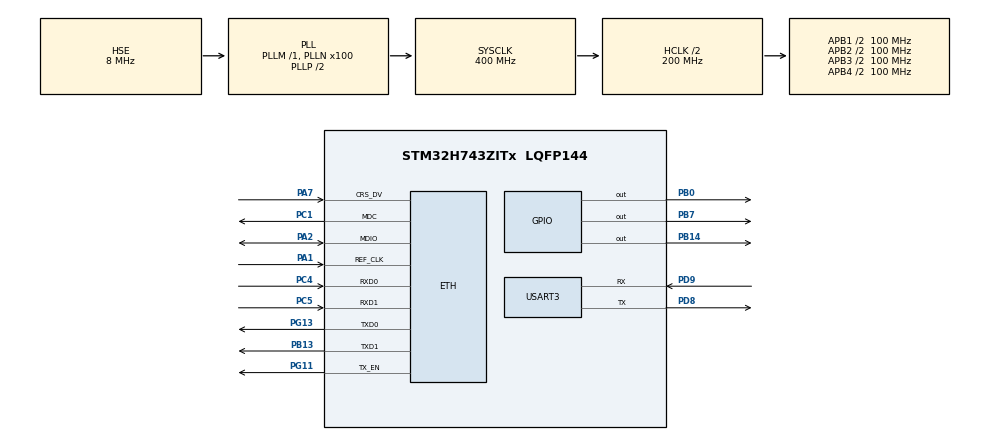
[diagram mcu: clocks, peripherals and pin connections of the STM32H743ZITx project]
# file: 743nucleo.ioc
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CORTEX_M7.AccessPermission-Cortex_Memory_Protection_Unit_Region0_Settings=MPU_REGION_PRIV_RO_URO
CORTEX_M7.AccessPermission-Cortex_Memory_Protection_Unit_Region1_Settings=MPU_REGION_FULL_ACCESS
CORTEX_M7.AccessPermission-Cortex_Memory_Protection_Unit_Region2_Settings=MPU_REGION_FULL_ACCESS
CORTEX_M7.AccessPermission-Cortex_Memory_Protection_Unit_Region3_Settings=MPU_REGION_FULL_ACCESS
CORTEX_M7.AccessPermission-Cortex_Memory_Protection_Unit_Region4_Settings=MPU_REGION_FULL_ACCESS
CORTEX_M7.AccessPermission-Cortex_Memory_Protection_Unit_Region5_Settings=MPU_REGION_FULL_ACCESS
CORTEX_M7.AccessPermission-Cortex_Memory_Protection_Unit_Region6_Settings=MPU_REGION_FULL_ACCESS
CORTEX_M7.BaseAddress-Cortex_Memory_Protection_Unit_Region0_Settings=0x08000000
CORTEX_M7.BaseAddress-Cortex_Memory_Protection_Unit_Region1_Settings=0x24000000
CORTEX_M7.BaseAddress-Cortex_Memory_Protection_Unit_Region2_Settings=0x30000000
CORTEX_M7.BaseAddress-Cortex_Memory_Protection_Unit_Region3_Settings=0x30020000
CORTEX_M7.BaseAddress-Cortex_Memory_Protection_Unit_Region4_Settings=0x30040000
CORTEX_M7.BaseAddress-Cortex_Memory_Protection_Unit_Region5_Settings=0x38000000
CORTEX_M7.BaseAddress-Cortex_Memory_Protection_Unit_Region6_Settings=0x38800000
CORTEX_M7.CPU_DCache=Enabled
CORTEX_M7.CPU_ICache=Enabled
CORTEX_M7.Enable-Cortex_Memory_Protection_Unit_Region0_Settings=MPU_REGION_ENABLE
CORTEX_M7.Enable-Cortex_Memory_Protection_Unit_Region1_Settings=MPU_REGION_ENABLE
CORTEX_M7.Enable-Cortex_Memory_Protection_Unit_Region2_Settings=MPU_REGION_ENABLE
CORTEX_M7.Enable-Cortex_Memory_Protection_Unit_Region3_Settings=MPU_REGION_ENABLE
CORTEX_M7.Enable-Cortex_Memory_Protection_Unit_Region4_Settings=MPU_REGION_ENABLE
CORTEX_M7.Enable-Cortex_Memory_Protection_Unit_Region5_Settings=MPU_REGION_ENABLE
CORTEX_M7.Enable-Cortex_Memory_Protection_Unit_Region6_Settings=MPU_REGION_ENABLE
CORTEX_M7.IsBufferable-Cortex_Memory_Protection_Unit_Region1_Settings=MPU_ACCESS_NOT_BUFFERABLE
CORTEX_M7.IsCacheable-Cortex_Memory_Protection_Unit_Region0_Settings=MPU_ACCESS_CACHEABLE
CORTEX_M7.IsCacheable-Cortex_Memory_Protection_Unit_Region1_Settings=MPU_ACCESS_CACHEABLE
CORTEX_M7.IsCacheable-Cortex_Memory_Protection_Unit_Region2_Settings=MPU_ACCESS_CACHEABLE
CORTEX_M7.IsCacheable-Cortex_Memory_Protection_Unit_Region3_Settings=MPU_ACCESS_CACHEABLE
CORTEX_M7.IsCacheable-Cortex_Memory_Protection_Unit_Region4_Settings=MPU_ACCESS_CACHEABLE
CORTEX_M7.IsCacheable-Cortex_Memory_Protection_Unit_Region5_Settings=MPU_ACCESS_CACHEABLE
CORTEX_M7.IsCacheable-Cortex_Memory_Protection_Unit_Region6_Settings=MPU_ACCESS_CACHEABLE
CORTEX_M7.IsShareable-Cortex_Memory_Protection_Unit_Region0_Settings=MPU_ACCESS_SHAREABLE
CORTEX_M7.IsShareable-Cortex_Memory_Protection_Unit_Region1_Settings=MPU_ACCESS_SHAREABLE
CORTEX_M7.IsShareable-Cortex_Memory_Protection_Unit_Region2_Settings=MPU_ACCESS_SHAREABLE
CORTEX_M7.IsShareable-Cortex_Memory_Protection_Unit_Region3_Settings=MPU_ACCESS_SHAREABLE
CORTEX_M7.IsShareable-Cortex_Memory_Protection_Unit_Region4_Settings=MPU_ACCESS_SHAREABLE
CORTEX_M7.IsShareable-Cortex_Memory_Protection_Unit_Region5_Settings=MPU_ACCESS_SHAREABLE
CORTEX_M7.IsShareable-Cortex_Memory_Protection_Unit_Region6_Settings=MPU_ACCESS_SHAREABLE
CORTEX_M7.MPU_Control=MPU_PRIVILEGED_DEFAULT
CORTEX_M7.Size-Cortex_Memory_Protection_Unit_Region0_Settings=MPU_REGION_SIZE_2MB
CORTEX_M7.Size-Cortex_Memory_Protection_Unit_Region1_Settings=MPU_REGION_SIZE_512KB
CORTEX_M7.Size-Cortex_Memory_Protection_Unit_Region2_Settings=MPU_REGION_SIZE_128KB
CORTEX_M7.Size-Cortex_Memory_Protection_Unit_Region3_Settings=MPU_REGION_SIZE_128KB
CORTEX_M7.Size-Cortex_Memory_Protection_Unit_Region4_Settings=MPU_REGION_SIZE_32KB
CORTEX_M7.Size-Cortex_Memory_Protection_Unit_Region5_Settings=MPU_REGION_SIZE_64KB
CORTEX_M7.Size-Cortex_Memory_Protection_Unit_Region6_Settings=MPU_REGION_SIZE_4KB
Dma.Request0=USART3_RX
Dma.Request1=USART3_TX
Dma.USART3_RX.0.Direction=DMA_PERIPH_TO_MEMORY
Dma.USART3_RX.0.EventEnable=DISABLE
Dma.USART3_RX.0.FIFOMode=DMA_FIFOMODE_DISABLE
Dma.USART3_RX.0.Instance=DMA1_Stream0
Dma.USART3_RX.0.MemDataAlignment=DMA_MDATAALIGN_BYTE
Dma.USART3_RX.0.MemInc=DMA_MINC_ENABLE
Dma.USART3_RX.0.Mode=DMA_NORMAL
Dma.USART3_RX.0.PeriphDataAlignment=DMA_PDATAALIGN_BYTE
Dma.USART3_RX.0.PeriphInc=DMA_PINC_DISABLE
Dma.USART3_RX.0.Polarity=HAL_DMAMUX_REQ_GEN_RISING
Dma.USART3_RX.0.Priority=DMA_PRIORITY_LOW
Dma.USART3_RX.0.RequestNumber=1
Dma.USART3_RX.0.SignalID=NONE
Dma.USART3_RX.0.SyncEnable=DISABLE
Dma.USART3_RX.0.SyncPolarity=HAL_DMAMUX_SYNC_NO_EVENT
Dma.USART3_RX.0.SyncRequestNumber=1
Dma.USART3_RX.0.SyncSignalID=NONE
Dma.USART3_TX.1.Direction=DMA_MEMORY_TO_PERIPH
Dma.USART3_TX.1.EventEnable=DISABLE
Dma.USART3_TX.1.FIFOMode=DMA_FIFOMODE_DISABLE
Dma.USART3_TX.1.Instance=DMA1_Stream1
Dma.USART3_TX.1.MemDataAlignment=DMA_MDATAALIGN_BYTE
Dma.USART3_TX.1.MemInc=DMA_MINC_ENABLE
Dma.USART3_TX.1.Mode=DMA_NORMAL
Dma.USART3_TX.1.PeriphDataAlignment=DMA_PDATAALIGN_BYTE
Dma.USART3_TX.1.PeriphInc=DMA_PINC_DISABLE
Dma.USART3_TX.1.Polarity=HAL_DMAMUX_REQ_GEN_RISING
Dma.USART3_TX.1.Priority=DMA_PRIORITY_LOW
Dma.USART3_TX.1.RequestNumber=1
Dma.USART3_TX.1.SignalID=NONE
Dma.USART3_TX.1.SyncEnable=DISABLE
Dma.USART3_TX.1.SyncPolarity=HAL_DMAMUX_SYNC_NO_EVENT
Dma.USART3_TX.1.SyncRequestNumber=1
Dma.USART3_TX.1.SyncSignalID=NONE
ETH.MACAddr=00\:80\:E1\:00\:00\:98
ETH.MediaInterface=HAL_ETH_RMII_MODE
FREERTOS.BinarySemaphores01=myBinarySem01,Dynamic,NULL;myBinarySem02,Dynamic,NULL
FREERTOS.CountingSemaphores01=myCountingSem01,2,Dynamic,NULL;myCountingSem02,2,Dynamic,NULL
FREERTOS.INCLUDE_eTaskGetState=1
FREERTOS.INCLUDE_pcTaskGetTaskName=1
FREERTOS.INCLUDE_uxTaskGetStackHighWaterMark=1
FREERTOS.INCLUDE_vTaskCleanUpResources=1
FREERTOS.INCLUDE_vTaskDelayUntil=1
FREERTOS.INCLUDE_xEventGroupSetBitFromISR=1
FREERTOS.INCLUDE_xQueueGetMutexHolder=1
FREERTOS.INCLUDE_xSemaphoreGetMutexHolder=1
FREERTOS.INCLUDE_xTaskAbortDelay=1
FREERTOS.INCLUDE_xTaskGetCurrentTaskHandle=1
FREERTOS.INCLUDE_xTaskGetHandle=1
FREERTOS.INCLUDE_xTimerPendFunctionCall=1
FREERTOS.MEMORY_ALLOCATION=0
FREERTOS.Mutexes01=myMutex01,Dynamic,NULL;myMutex02,Dynamic,NULL
FREERTOS.Queues01=myQueue01,16,uint16_t,0,Dynamic,NULL,NULL;myQueue02,16,uint16_t,0,Dynamic,NULL,NULL
FREERTOS.RecursiveMutexes01=myRecursiveMutex01,Dynamic,NULL;myRecursiveMutex02,Dynamic,NULL
FREERTOS.Tasks01=defaultTask,0,128,StartDefaultTask,Default,NULL,Dynamic,NULL,NULL;myTask02,-3,128,StartTask02,Default,NULL,Dynamic,NULL,NULL;myTask03,-3,128,StartTask03,Default,NULL,Dynamic,NULL,NULL
FREERTOS.Timers01=myTimer01,Callback01,osTimerPeriodic,Default,NULL,Dynamic,NULL;myTimer02,Callback02,osTimerPeriodic,Default,NULL,Dynamic,NULL
FREERTOS.configCHECK_FOR_STACK_OVERFLOW=1
FREERTOS.configGENERATE_RUN_TIME_STATS=1
FREERTOS.configMAX_PRIORITIES=32
FREERTOS.configUSE_APPLICATION_TASK_TAG=1
FREERTOS.configUSE_COUNTING_SEMAPHORES=1
FREERTOS.configUSE_CO_ROUTINES=1
FREERTOS.configUSE_DAEMON_TASK_STARTUP_HOOK=1
FREERTOS.configUSE_IDLE_HOOK=1
FREERTOS.configUSE_MALLOC_FAILED_HOOK=1
FREERTOS.configUSE_RECURSIVE_MUTEXES=1
FREERTOS.configUSE_STATS_FORMATTING_FUNCTIONS=1
FREERTOS.configUSE_TICKLESS_IDLE=0
FREERTOS.configUSE_TICK_HOOK=1
FREERTOS.configUSE_TIMERS=1
FREERTOS.configUSE_TRACE_FACILITY=1
LWIP.BSP.number=1
LWIP.CHECKSUM_BY_HARDWARE=1
LWIP.CHECKSUM_CHECK_IP=1
LWIP.CHECKSUM_CHECK_TCP=1
LWIP.CHECKSUM_CHECK_UDP=1
LWIP.CHECKSUM_GEN_IP=1
LWIP.CHECKSUM_GEN_TCP=1
LWIP.CHECKSUM_GEN_UDP=1
LWIP.GATEWAY_ADDRESS=192.168.001.001
LWIP.IP_ADDRESS=192.168.001.120
LWIP.LWIP_DHCP=1
LWIP.LWIP_DNS=1
LWIP.LWIP_HTTPD=0
LWIP.LWIP_NETIF_LINK_CALLBACK=1
LWIP.LWIP_NETIF_LOOPBACK=1
LWIP.LWIP_NETIF_STATUS_CALLBACK=1
LWIP.NETMASK_ADDRESS=255.255.255.000
LWIP.Version=v2.0.3_Cube
LWIP0.BSP.STBoard=false
LWIP0.BSP.api=BSP_COMPONENT_DRIVER
LWIP0.BSP.component=LAN8742
LWIP0.BSP.i2caddr=0
LWIP0.BSP.instance=LAN8742
LWIP0.BSP.name=Driver_PHY
LWIP0.BSP.solution=LAN8742
Mcu.Family=STM32H7
Mcu.Name=STM32H743ZITx
Mcu.Package=LQFP144
NVIC.DMA1_Stream0_IRQn=true\:5\:0\:false\:false\:true\:true\:false\:true
NVIC.DMA1_Stream1_IRQn=true\:5\:0\:false\:false\:true\:true\:false\:true
NVIC.ETH_IRQn=true\:5\:0\:false\:false\:true\:true\:true\:true
NVIC.ETH_WKUP_IRQn=true\:5\:0\:false\:false\:true\:true\:true\:true
NVIC.PriorityGroup=NVIC_PRIORITYGROUP_4
NVIC.TIM7_IRQn=true\:0\:0\:false\:false\:true\:false\:false\:true
NVIC.TimeBase=TIM7_IRQn
NVIC.TimeBaseIP=TIM7
NVIC.USART3_IRQn=true\:5\:0\:false\:false\:true\:true\:true\:true
PA1.GPIO_Speed=GPIO_SPEED_FREQ_VERY_HIGH
PA1.Mode=RMII
PA1.Signal=ETH_REF_CLK
PA13\ (JTMS/SWDIO).Mode=Serial_Wire
PA13\ (JTMS/SWDIO).Signal=SYS_JTMS-SWDIO
PA14\ (JTCK/SWCLK).Mode=Serial_Wire
PA14\ (JTCK/SWCLK).Signal=SYS_JTCK-SWCLK
PA2.GPIO_Speed=GPIO_SPEED_FREQ_VERY_HIGH
PA2.Mode=RMII
PA2.Signal=ETH_MDIO
PA7.GPIO_Speed=GPIO_SPEED_FREQ_VERY_HIGH
PA7.Mode=RMII
PA7.Signal=ETH_CRS_DV
PB0.Signal=GPIO_Output
PB13.GPIO_Speed=GPIO_SPEED_FREQ_VERY_HIGH
PB13.Mode=RMII
PB13.Signal=ETH_TXD1
PB14.Signal=GPIO_Output
PB7.Signal=GPIO_Output
PC1.Mode=RMII
PC1.Signal=ETH_MDC
PC14-OSC32_IN\ (OSC32_IN).Mode=LSE-External-Clock-Source
PC14-OSC32_IN\ (OSC32_IN).Signal=RCC_OSC32_IN
PC15-OSC32_OUT\ (OSC32_OUT).Mode=LSE-External-Clock-Source
PC15-OSC32_OUT\ (OSC32_OUT).Signal=RCC_OSC32_OUT
PC4.GPIO_Speed=GPIO_SPEED_FREQ_VERY_HIGH
PC4.Mode=RMII
PC4.Signal=ETH_RXD0
PC5.GPIO_Speed=GPIO_SPEED_FREQ_VERY_HIGH
PC5.Mode=RMII
PC5.Signal=ETH_RXD1
PD8.GPIO_Speed=GPIO_SPEED_FREQ_VERY_HIGH
PD8.Mode=Asynchronous
PD8.Signal=USART3_TX
PD9.GPIO_Speed=GPIO_SPEED_FREQ_VERY_HIGH
PD9.Mode=Asynchronous
PD9.Signal=USART3_RX
PG11.GPIO_Speed=GPIO_SPEED_FREQ_VERY_HIGH
PG11.Mode=RMII
PG11.Signal=ETH_TX_EN
PG13.GPIO_Speed=GPIO_SPEED_FREQ_VERY_HIGH
PG13.Mode=RMII
PG13.Signal=ETH_TXD0
PH0-OSC_IN\ (PH0).Mode=HSE-External-Clock-Source
PH0-OSC_IN\ (PH0).Signal=RCC_OSC_IN
PH1-OSC_OUT\ (PH1).Mode=HSE-External-Clock-Source
PH1-OSC_OUT\ (PH1).Signal=RCC_OSC_OUT
ProjectManager.HeapSize=0x8000
ProjectManager.StackSize=0x8000
ProjectManager.TargetToolchain=MDK-ARM V5
RCC.ADCFreq_Value=16125000
RCC.APB1Freq_Value=100000000
RCC.APB2Freq_Value=100000000
RCC.APB3Freq_Value=100000000
RCC.APB4Freq_Value=100000000
RCC.CortexFreq_Value=400000000
RCC.D1PPRE=RCC_APB3_DIV2
RCC.D2PPRE1=RCC_APB1_DIV2
RCC.D2PPRE2=RCC_APB2_DIV2
RCC.D3PPRE=RCC_APB4_DIV2
RCC.DIVM1=1
RCC.DIVN1=100
RCC.FLatency=FLASH_LATENCY_7
RCC.HCLKFreq_Value=200000000
RCC.HPRE=RCC_HCLK_DIV2
RCC.HSE_VALUE=8000000
RCC.PLLSourceVirtual=RCC_PLLSOURCE_HSE
RCC.PWR_Regulator_Voltage_Scale=PWR_REGULATOR_VOLTAGE_SCALE1
RCC.RCC_MCO1Source=RCC_MCO1SOURCE_PLL1QCLK
RCC.RCC_MCODiv1=RCC_MCODIV_8
RCC.SYSCLKFreq_VALUE=400000000
RCC.SYSCLKSource=RCC_SYSCLKSOURCE_PLLCLK
RCC.USBFreq_Value=400000000
USART3.VirtualMode-Asynchronous=VM_ASYNC
VP_FREERTOS_VS_CMSIS_V1.Mode=CMSIS_V1
VP_LWIP_VS_Enabled.Mode=Enabled
VP_SYS_VS_tim7.Mode=TIM7
board=custom

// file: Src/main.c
/* USER CODE BEGIN Header */
/**
  ******************************************************************************
  * @file           : main.c
  * @brief          : Main program body
  ******************************************************************************
  * This notice applies to any and all portions of this file
  * that are not between comment pairs USER CODE BEGIN and
  * USER CODE END. Other portions of this file, whether
  * inserted by the user or by software development tools
  * are owned by their respective copyright owners.
  *
  * Copyright (c) 2019 STMicroelectronics International N.V.
  * All rights reserved.
  *
  * Redistribution and use in source and binary forms, with or without
  * modification, are permitted, provided that the following conditions are met:
  *
  * 1. Redistribution of source code must retain the above copyright notice,
  *    this list of conditions and the following disclaimer.
  * 2. Redistributions in binary form must reproduce the above copyright notice,
  *    this list of conditions and the following disclaimer in the documentation
  *    and/or other materials provided with the distribution.
  * 3. Neither the name of STMicroelectronics nor the names of other
  *    contributors to this software may be used to endorse or promote products
  *    derived from this software without specific written permission.
  * 4. This software, including modifications and/or derivative works of this
  *    software, must execute solely and exclusively on microcontroller or
  *    microprocessor devices manufactured by or for STMicroelectronics.
  * 5. Redistribution and use of this software other than as permitted under
  *    this license is void and will automatically terminate your rights under
  *    this license.
  *
  * THIS SOFTWARE IS PROVIDED BY STMICROELECTRONICS AND CONTRIBUTORS "AS IS"
  * AND ANY EXPRESS, IMPLIED OR STATUTORY WARRANTIES, INCLUDING, BUT NOT
  * LIMITED TO, THE IMPLIED WARRANTIES OF MERCHANTABILITY, FITNESS FOR A
  * PARTICULAR PURPOSE AND NON-INFRINGEMENT OF THIRD PARTY INTELLECTUAL PROPERTY
  * RIGHTS ARE DISCLAIMED TO THE FULLEST EXTENT PERMITTED BY LAW. IN NO EVENT
  * SHALL STMICROELECTRONICS OR CONTRIBUTORS BE LIABLE FOR ANY DIRECT, INDIRECT,
  * INCIDENTAL, SPECIAL, EXEMPLARY, OR CONSEQUENTIAL DAMAGES (INCLUDING, BUT NOT
  * LIMITED TO, PROCUREMENT OF SUBSTITUTE GOODS OR SERVICES; LOSS OF USE, DATA,
  * OR PROFITS; OR BUSINESS INTERRUPTION) HOWEVER CAUSED AND ON ANY THEORY OF
  * LIABILITY, WHETHER IN CONTRACT, STRICT LIABILITY, OR TORT (INCLUDING
  * NEGLIGENCE OR OTHERWISE) ARISING IN ANY WAY OUT OF THE USE OF THIS SOFTWARE,
  * EVEN IF ADVISED OF THE POSSIBILITY OF SUCH DAMAGE.
  *
  ******************************************************************************
  */
/* USER CODE END Header */

#include "main.h"
#include "cmsis_os.h"
#include "dma.h"
#include "lwip.h"
#include "usart.h"
#include "gpio.h"

void SystemClock_Config(void);
static void MPU_Config(void);
void MX_FREERTOS_Init(void);

int main(void)
{

  /* MPU Configuration--------------------------------------------------------*/
  MPU_Config();

  /* Enable I-Cache---------------------------------------------------------*/
  SCB_EnableICache();

  /* Enable D-Cache---------------------------------------------------------*/
  SCB_EnableDCache();

  /* MCU Configuration--------------------------------------------------------*/

  /* Reset of all peripherals, Initializes the Flash interface and the Systick. */
  HAL_Init();

  /* Configure the system clock */
  SystemClock_Config();

  /* Initialize all configured peripherals */
  MX_GPIO_Init();
  MX_DMA_Init();
  MX_USART3_UART_Init();

  /* Call init function for freertos objects (in freertos.c) */
  MX_FREERTOS_Init();

  /* Start scheduler */
  osKernelStart();

  /* We should never get here as control is now taken by the scheduler */

  /* Infinite loop */
  while (1)
  {

  }
}

void SystemClock_Config(void)
{
  RCC_OscInitTypeDef RCC_OscInitStruct = {0};
  RCC_ClkInitTypeDef RCC_ClkInitStruct = {0};
  RCC_PeriphCLKInitTypeDef PeriphClkInitStruct = {0};

  /** Supply configuration update enable
  */
  MODIFY_REG(PWR->CR3, PWR_CR3_SCUEN, 0);
  /** Configure the main internal regulator output voltage
  */
  __HAL_PWR_VOLTAGESCALING_CONFIG(PWR_REGULATOR_VOLTAGE_SCALE1);

  while ((PWR->D3CR & (PWR_D3CR_VOSRDY)) != PWR_D3CR_VOSRDY)
  {

  }
  /** Initializes the CPU, AHB and APB busses clocks
  */
  RCC_OscInitStruct.OscillatorType = RCC_OSCILLATORTYPE_HSE;
  RCC_OscInitStruct.HSEState = RCC_HSE_BYPASS;
  RCC_OscInitStruct.PLL.PLLState = RCC_PLL_ON;
  RCC_OscInitStruct.PLL.PLLSource = RCC_PLLSOURCE_HSE;
  RCC_OscInitStruct.PLL.PLLM = 1;
  RCC_OscInitStruct.PLL.PLLN = 100;
  RCC_OscInitStruct.PLL.PLLP = 2;
  RCC_OscInitStruct.PLL.PLLQ = 2;
  RCC_OscInitStruct.PLL.PLLR = 2;
  RCC_OscInitStruct.PLL.PLLRGE = RCC_PLL1VCIRANGE_3;
  RCC_OscInitStruct.PLL.PLLVCOSEL = RCC_PLL1VCOWIDE;
  RCC_OscInitStruct.PLL.PLLFRACN = 0;
  if (HAL_RCC_OscConfig(&RCC_OscInitStruct) != HAL_OK)
  {
    Error_Handler();
  }
  /** Initializes the CPU, AHB and APB busses clocks
  */
  RCC_ClkInitStruct.ClockType = RCC_CLOCKTYPE_HCLK|RCC_CLOCKTYPE_SYSCLK
                              |RCC_CLOCKTYPE_PCLK1|RCC_CLOCKTYPE_PCLK2
                              |RCC_CLOCKTYPE_D3PCLK1|RCC_CLOCKTYPE_D1PCLK1;
  RCC_ClkInitStruct.SYSCLKSource = RCC_SYSCLKSOURCE_PLLCLK;
  RCC_ClkInitStruct.SYSCLKDivider = RCC_SYSCLK_DIV1;
  RCC_ClkInitStruct.AHBCLKDivider = RCC_HCLK_DIV2;
  RCC_ClkInitStruct.APB3CLKDivider = RCC_APB3_DIV2;
  RCC_ClkInitStruct.APB1CLKDivider = RCC_APB1_DIV2;
  RCC_ClkInitStruct.APB2CLKDivider = RCC_APB2_DIV2;
  RCC_ClkInitStruct.APB4CLKDivider = RCC_APB4_DIV2;

  if (HAL_RCC_ClockConfig(&RCC_ClkInitStruct, FLASH_LATENCY_7) != HAL_OK)
  {
    Error_Handler();
  }
  PeriphClkInitStruct.PeriphClockSelection = RCC_PERIPHCLK_USART3;
  PeriphClkInitStruct.Usart234578ClockSelection = RCC_USART234578CLKSOURCE_D2PCLK1;
  if (HAL_RCCEx_PeriphCLKConfig(&PeriphClkInitStruct) != HAL_OK)
  {
    Error_Handler();
  }
}

/* MPU Configuration */

void MPU_Config(void)
{
  MPU_Region_InitTypeDef MPU_InitStruct = {0};

  /* Disables the MPU */
  HAL_MPU_Disable();
  /** Initializes and configures the Region and the memory to be protected
  */
  MPU_InitStruct.Enable = MPU_REGION_ENABLE;
  MPU_InitStruct.Number = MPU_REGION_NUMBER0;
  MPU_InitStruct.BaseAddress = 0x08000000;
  MPU_InitStruct.Size = MPU_REGION_SIZE_2MB;
  MPU_InitStruct.SubRegionDisable = 0x0;
  MPU_InitStruct.TypeExtField = MPU_TEX_LEVEL0;
  MPU_InitStruct.AccessPermission = MPU_REGION_PRIV_RO_URO;
  MPU_InitStruct.DisableExec = MPU_INSTRUCTION_ACCESS_ENABLE;
  MPU_InitStruct.IsShareable = MPU_ACCESS_SHAREABLE;
  MPU_InitStruct.IsCacheable = MPU_ACCESS_CACHEABLE;
  MPU_InitStruct.IsBufferable = MPU_ACCESS_NOT_BUFFERABLE;

  HAL_MPU_ConfigRegion(&MPU_InitStruct);
  /** Initializes and configures the Region and the memory to be protected
  */
  MPU_InitStruct.Enable = MPU_REGION_ENABLE;
  MPU_InitStruct.Number = MPU_REGION_NUMBER1;
  MPU_InitStruct.BaseAddress = 0x24000000;
  MPU_InitStruct.Size = MPU_REGION_SIZE_512KB;
  MPU_InitStruct.SubRegionDisable = 0x0;
  MPU_InitStruct.TypeExtField = MPU_TEX_LEVEL0;
  MPU_InitStruct.AccessPermission = MPU_REGION_FULL_ACCESS;
  MPU_InitStruct.DisableExec = MPU_INSTRUCTION_ACCESS_ENABLE;
  MPU_InitStruct.IsShareable = MPU_ACCESS_SHAREABLE;
  MPU_InitStruct.IsCacheable = MPU_ACCESS_CACHEABLE;
  MPU_InitStruct.IsBufferable = MPU_ACCESS_NOT_BUFFERABLE;

  HAL_MPU_ConfigRegion(&MPU_InitStruct);
  /** Initializes and configures the Region and the memory to be protected
  */
  MPU_InitStruct.Enable = MPU_REGION_ENABLE;
  MPU_InitStruct.Number = MPU_REGION_NUMBER2;
  MPU_InitStruct.BaseAddress = 0x30000000;
  MPU_InitStruct.Size = MPU_REGION_SIZE_128KB;
  MPU_InitStruct.SubRegionDisable = 0x0;
  MPU_InitStruct.TypeExtField = MPU_TEX_LEVEL0;
  MPU_InitStruct.AccessPermission = MPU_REGION_FULL_ACCESS;
  MPU_InitStruct.DisableExec = MPU_INSTRUCTION_ACCESS_ENABLE;
  MPU_InitStruct.IsShareable = MPU_ACCESS_SHAREABLE;
  MPU_InitStruct.IsCacheable = MPU_ACCESS_CACHEABLE;
  MPU_InitStruct.IsBufferable = MPU_ACCESS_NOT_BUFFERABLE;

  HAL_MPU_ConfigRegion(&MPU_InitStruct);
  /** Initializes and configures the Region and the memory to be protected
  */
  MPU_InitStruct.Enable = MPU_REGION_ENABLE;
  MPU_InitStruct.Number = MPU_REGION_NUMBER3;
  MPU_InitStruct.BaseAddress = 0x30020000;
  MPU_InitStruct.Size = MPU_REGION_SIZE_128KB;
  MPU_InitStruct.SubRegionDisable = 0x0;
  MPU_InitStruct.TypeExtField = MPU_TEX_LEVEL0;
  MPU_InitStruct.AccessPermission = MPU_REGION_FULL_ACCESS;
  MPU_InitStruct.DisableExec = MPU_INSTRUCTION_ACCESS_ENABLE;
  MPU_InitStruct.IsShareable = MPU_ACCESS_SHAREABLE;
  MPU_InitStruct.IsCacheable = MPU_ACCESS_CACHEABLE;
  MPU_InitStruct.IsBufferable = MPU_ACCESS_NOT_BUFFERABLE;

  HAL_MPU_ConfigRegion(&MPU_InitStruct);
  /** Initializes and configures the Region and the memory to be protected
  */
  MPU_InitStruct.Enable = MPU_REGION_ENABLE;
  MPU_InitStruct.Number = MPU_REGION_NUMBER4;
  MPU_InitStruct.BaseAddress = 0x30040000;
  MPU_InitStruct.Size = MPU_REGION_SIZE_32KB;
  MPU_InitStruct.SubRegionDisable = 0x0;
  MPU_InitStruct.TypeExtField = MPU_TEX_LEVEL0;
  MPU_InitStruct.AccessPermission = MPU_REGION_FULL_ACCESS;
  MPU_InitStruct.DisableExec = MPU_INSTRUCTION_ACCESS_ENABLE;
  MPU_InitStruct.IsShareable = MPU_ACCESS_SHAREABLE;
  MPU_InitStruct.IsCacheable = MPU_ACCESS_CACHEABLE;
  MPU_InitStruct.IsBufferable = MPU_ACCESS_NOT_BUFFERABLE;

  HAL_MPU_ConfigRegion(&MPU_InitStruct);
  /** Initializes and configures the Region and the memory to be protected
  */
  MPU_InitStruct.Enable = MPU_REGION_ENABLE;
  MPU_InitStruct.Number = MPU_REGION_NUMBER5;
  MPU_InitStruct.BaseAddress = 0x38000000;
  MPU_InitStruct.Size = MPU_REGION_SIZE_64KB;
  MPU_InitStruct.SubRegionDisable = 0x0;
  MPU_InitStruct.TypeExtField = MPU_TEX_LEVEL0;
  MPU_InitStruct.AccessPermission = MPU_REGION_FULL_ACCESS;
  MPU_InitStruct.DisableExec = MPU_INSTRUCTION_ACCESS_ENABLE;
  MPU_InitStruct.IsShareable = MPU_ACCESS_SHAREABLE;
  MPU_InitStruct.IsCacheable = MPU_ACCESS_CACHEABLE;
  MPU_InitStruct.IsBufferable = MPU_ACCESS_NOT_BUFFERABLE;

  HAL_MPU_ConfigRegion(&MPU_InitStruct);
  /** Initializes and configures the Region and the memory to be protected
  */
  MPU_InitStruct.Enable = MPU_REGION_ENABLE;
  MPU_InitStruct.Number = MPU_REGION_NUMBER6;
  MPU_InitStruct.BaseAddress = 0x38800000;
  MPU_InitStruct.Size = MPU_REGION_SIZE_4KB;
  MPU_InitStruct.SubRegionDisable = 0x0;
  MPU_InitStruct.TypeExtField = MPU_TEX_LEVEL0;
  MPU_InitStruct.AccessPermission = MPU_REGION_FULL_ACCESS;
  MPU_InitStruct.DisableExec = MPU_INSTRUCTION_ACCESS_ENABLE;
  MPU_InitStruct.IsShareable = MPU_ACCESS_SHAREABLE;
  MPU_InitStruct.IsCacheable = MPU_ACCESS_CACHEABLE;
  MPU_InitStruct.IsBufferable = MPU_ACCESS_NOT_BUFFERABLE;

  HAL_MPU_ConfigRegion(&MPU_InitStruct);
  /* Enables the MPU */
  HAL_MPU_Enable(MPU_PRIVILEGED_DEFAULT);

}
void HAL_TIM_PeriodElapsedCallback(TIM_HandleTypeDef *htim)
{
  if (htim->Instance == TIM7) {
    HAL_IncTick();
  }
}

void Error_Handler(void)
{
}

/************************ (C) COPYRIGHT STMicroelectronics *****END OF FILE****/

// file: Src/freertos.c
/* USER CODE BEGIN Header */
/**
  ******************************************************************************
  * File Name          : freertos.c
  * Description        : Code for freertos applications
  ******************************************************************************
  * This notice applies to any and all portions of this file
  * that are not between comment pairs USER CODE BEGIN and
  * USER CODE END. Other portions of this file, whether
  * inserted by the user or by software development tools
  * are owned by their respective copyright owners.
  *
  * Copyright (c) 2019 STMicroelectronics International N.V.
  * All rights reserved.
  *
  * Redistribution and use in source and binary forms, with or without
  * modification, are permitted, provided that the following conditions are met:
  *
  * 1. Redistribution of source code must retain the above copyright notice,
  *    this list of conditions and the following disclaimer.
  * 2. Redistributions in binary form must reproduce the above copyright notice,
  *    this list of conditions and the following disclaimer in the documentation
  *    and/or other materials provided with the distribution.
  * 3. Neither the name of STMicroelectronics nor the names of other
  *    contributors to this software may be used to endorse or promote products
  *    derived from this software without specific written permission.
  * 4. This software, including modifications and/or derivative works of this
  *    software, must execute solely and exclusively on microcontroller or
  *    microprocessor devices manufactured by or for STMicroelectronics.
  * 5. Redistribution and use of this software other than as permitted under
  *    this license is void and will automatically terminate your rights under
  *    this license.
  *
  * THIS SOFTWARE IS PROVIDED BY STMICROELECTRONICS AND CONTRIBUTORS "AS IS"
  * AND ANY EXPRESS, IMPLIED OR STATUTORY WARRANTIES, INCLUDING, BUT NOT
  * LIMITED TO, THE IMPLIED WARRANTIES OF MERCHANTABILITY, FITNESS FOR A
  * PARTICULAR PURPOSE AND NON-INFRINGEMENT OF THIRD PARTY INTELLECTUAL PROPERTY
  * RIGHTS ARE DISCLAIMED TO THE FULLEST EXTENT PERMITTED BY LAW. IN NO EVENT
  * SHALL STMICROELECTRONICS OR CONTRIBUTORS BE LIABLE FOR ANY DIRECT, INDIRECT,
  * INCIDENTAL, SPECIAL, EXEMPLARY, OR CONSEQUENTIAL DAMAGES (INCLUDING, BUT NOT
  * LIMITED TO, PROCUREMENT OF SUBSTITUTE GOODS OR SERVICES; LOSS OF USE, DATA,
  * OR PROFITS; OR BUSINESS INTERRUPTION) HOWEVER CAUSED AND ON ANY THEORY OF
  * LIABILITY, WHETHER IN CONTRACT, STRICT LIABILITY, OR TORT (INCLUDING
  * NEGLIGENCE OR OTHERWISE) ARISING IN ANY WAY OUT OF THE USE OF THIS SOFTWARE,
  * EVEN IF ADVISED OF THE POSSIBILITY OF SUCH DAMAGE.
  *
  ******************************************************************************
  */
/* USER CODE END Header */

#include "FreeRTOS.h"
#include "task.h"
#include "main.h"
#include "cmsis_os.h"

/* USER CODE BEGIN Includes */
#include "lwip/opt.h"
#include "lwip/timeouts.h"
#include "netif/ethernet.h"
#include "netif/etharp.h"
#include "lwip/ethip6.h"
#include "ethernetif.h"
#include "lan8742.h"
#include <string.h>
/* USER CODE END Includes */

/* USER CODE BEGIN PD */
#include "tcpecho.h"
#include "udpecho.h"

/* USER CODE END PD */

/* USER CODE BEGIN Variables */
extern struct netif gnetif;
/* USER CODE END Variables */
osThreadId defaultTaskHandle;
osThreadId myTask02Handle;
osThreadId myTask03Handle;
osMessageQId myQueue01Handle;
osMessageQId myQueue02Handle;
osTimerId myTimer01Handle;
osTimerId myTimer02Handle;
osMutexId myMutex01Handle;
osMutexId myMutex02Handle;
osMutexId myRecursiveMutex01Handle;
osMutexId myRecursiveMutex02Handle;
osSemaphoreId myBinarySem01Handle;
osSemaphoreId myBinarySem02Handle;
osSemaphoreId myCountingSem01Handle;
osSemaphoreId myCountingSem02Handle;

void StartDefaultTask(void const * argument);
void StartTask02(void const * argument);
void StartTask03(void const * argument);
void Callback01(void const * argument);
void Callback02(void const * argument);

extern void MX_LWIP_Init(void);
void MX_FREERTOS_Init(void); /* (MISRA C 2004 rule 8.1) */

/* Hook prototypes */
void configureTimerForRunTimeStats(void);
unsigned long getRunTimeCounterValue(void);
void vApplicationIdleHook(void);
void vApplicationTickHook(void);
void vApplicationStackOverflowHook(xTaskHandle xTask, signed char *pcTaskName);
void vApplicationMallocFailedHook(void);
void vApplicationDaemonTaskStartupHook(void);

/* USER CODE BEGIN 1 */
/* Functions needed when configGENERATE_RUN_TIME_STATS is on */
__weak void configureTimerForRunTimeStats(void)
{

}

__weak unsigned long getRunTimeCounterValue(void)
{
    return 0;
}
/* USER CODE END 1 */

/* USER CODE BEGIN 2 */
__weak void vApplicationIdleHook( void )
{
    /* vApplicationIdleHook() will only be called if configUSE_IDLE_HOOK is set
    to 1 in FreeRTOSConfig.h. It will be called on each iteration of the idle
    task. It is essential that code added to this hook function never attempts
    to block in any way (for example, call xQueueReceive() with a block time
    specified, or call vTaskDelay()). If the application makes use of the
    vTaskDelete() API function (as this demo application does) then it is also
    important that vApplicationIdleHook() is permitted to return to its calling
    function, because it is the responsibility of the idle task to clean up
    memory allocated by the kernel to any task that has since been deleted. */
}
/* USER CODE END 2 */

/* USER CODE BEGIN 3 */
__weak void vApplicationTickHook( void )
{
   /* This function will be called by each tick interrupt if
   configUSE_TICK_HOOK is set to 1 in FreeRTOSConfig.h. User code can be
   added here, but the tick hook is called from an interrupt context, so
   code must not attempt to block, and only the interrupt safe FreeRTOS API
   functions can be used (those that end in FromISR()). */
}
/* USER CODE END 3 */

/* USER CODE BEGIN 4 */
__weak void vApplicationStackOverflowHook(xTaskHandle xTask, signed char *pcTaskName)
{
    /* Run time stack overflow checking is performed if
    configCHECK_FOR_STACK_OVERFLOW is defined to 1 or 2. This hook function is
    called if a stack overflow is detected. */
}
/* USER CODE END 4 */

/* USER CODE BEGIN 5 */
__weak void vApplicationMallocFailedHook(void)
{
   /* vApplicationMallocFailedHook() will only be called if
   configUSE_MALLOC_FAILED_HOOK is set to 1 in FreeRTOSConfig.h. It is a hook
   function that will get called if a call to pvPortMalloc() fails.
   pvPortMalloc() is called internally by the kernel whenever a task, queue,
   timer or semaphore is created. It is also called by various parts of the
   demo application. If heap_1.c or heap_2.c are used, then the size of the
   heap available to pvPortMalloc() is defined by configTOTAL_HEAP_SIZE in
   FreeRTOSConfig.h, and the xPortGetFreeHeapSize() API function can be used
   to query the size of free heap space that remains (although it does not
   provide information on how the remaining heap might be fragmented). */
}
/* USER CODE END 5 */

/* USER CODE BEGIN DAEMON_TASK_STARTUP_HOOK */
void vApplicationDaemonTaskStartupHook(void)
{
}
/* USER CODE END DAEMON_TASK_STARTUP_HOOK */

void MX_FREERTOS_Init(void) {

  /* Create the mutex(es) */
  /* definition and creation of myMutex01 */
  osMutexDef(myMutex01);
  myMutex01Handle = osMutexCreate(osMutex(myMutex01));

  /* definition and creation of myMutex02 */
  osMutexDef(myMutex02);
  myMutex02Handle = osMutexCreate(osMutex(myMutex02));

  /* Create the recursive mutex(es) */
  /* definition and creation of myRecursiveMutex01 */
  osMutexDef(myRecursiveMutex01);
  myRecursiveMutex01Handle = osRecursiveMutexCreate(osMutex(myRecursiveMutex01));

  /* definition and creation of myRecursiveMutex02 */
  osMutexDef(myRecursiveMutex02);
  myRecursiveMutex02Handle = osRecursiveMutexCreate(osMutex(myRecursiveMutex02));

  /* Create the semaphores(s) */
  /* definition and creation of myBinarySem01 */
  osSemaphoreDef(myBinarySem01);
  myBinarySem01Handle = osSemaphoreCreate(osSemaphore(myBinarySem01), 1);

  /* definition and creation of myBinarySem02 */
  osSemaphoreDef(myBinarySem02);
  myBinarySem02Handle = osSemaphoreCreate(osSemaphore(myBinarySem02), 1);

  /* definition and creation of myCountingSem01 */
  osSemaphoreDef(myCountingSem01);
  myCountingSem01Handle = osSemaphoreCreate(osSemaphore(myCountingSem01), 2);

  /* definition and creation of myCountingSem02 */
  osSemaphoreDef(myCountingSem02);
  myCountingSem02Handle = osSemaphoreCreate(osSemaphore(myCountingSem02), 2);

  /* Create the timer(s) */
  /* definition and creation of myTimer01 */
  osTimerDef(myTimer01, Callback01);
  myTimer01Handle = osTimerCreate(osTimer(myTimer01), osTimerPeriodic, NULL);

  /* definition and creation of myTimer02 */
  osTimerDef(myTimer02, Callback02);
  myTimer02Handle = osTimerCreate(osTimer(myTimer02), osTimerPeriodic, NULL);

  /* Create the queue(s) */
  /* definition and creation of myQueue01 */
  osMessageQDef(myQueue01, 16, uint16_t);
  myQueue01Handle = osMessageCreate(osMessageQ(myQueue01), NULL);

  /* definition and creation of myQueue02 */
  osMessageQDef(myQueue02, 16, uint16_t);
  myQueue02Handle = osMessageCreate(osMessageQ(myQueue02), NULL);

  /* Create the thread(s) */
  /* definition and creation of defaultTask */
  osThreadDef(defaultTask, StartDefaultTask, osPriorityNormal, 0, 128);
  defaultTaskHandle = osThreadCreate(osThread(defaultTask), NULL);

  /* definition and creation of myTask02 */
  osThreadDef(myTask02, StartTask02, osPriorityIdle, 0, 128);
  myTask02Handle = osThreadCreate(osThread(myTask02), NULL);

  /* definition and creation of myTask03 */
  osThreadDef(myTask03, StartTask03, osPriorityIdle, 0, 128);
  myTask03Handle = osThreadCreate(osThread(myTask03), NULL);

}

void StartDefaultTask(void const * argument)
{
  /* init code for LWIP */
  MX_LWIP_Init();

  /* USER CODE BEGIN StartDefaultTask */
    /* Infinite loop */
    for(;;)
    {
        osDelay(100);
    }
  /* USER CODE END StartDefaultTask */
}

/* USER CODE BEGIN Header_StartTask02 */
/**
* @brief Function implementing the myTask02 thread.
* @param argument: Not used
* @retval None
*/
extern void udp_echoclient_connect(void);
extern void udp_echoclient_send(void);
/* USER CODE END Header_StartTask02 */
void StartTask02(void const * argument)
{
  /* USER CODE BEGIN StartTask02 */
    /* Infinite loop */
    int16_t *p = (int16_t *)0x1FF1E880;
    printf("Flash size= %d kB\r\n", *p);

    p = (int16_t *)0x1FF1E800;
    printf("id=");
    for(int i = 0; i < 96 / 2 / 8; i++)
    {
        printf("%x", *(p + i));
    }
    printf("\r\n");

    printf("SYSCLK_Frequency is %dHZ\r\n", HAL_RCC_GetSysClockFreq());
    printf("PCLK1_Frequency is %dHZ\r\n", HAL_RCC_GetPCLK1Freq());
    printf("PCLK2_Frequency is %dHZ\r\n", HAL_RCC_GetPCLK2Freq());
    printf("HAL_RCCEx_GetD1PCLK1Freq is %dHZ\r\n", HAL_RCCEx_GetD1PCLK1Freq());
    printf("HAL_RCCEx_GetD3PCLK1Freq is %dHZ\r\n", HAL_RCCEx_GetD3PCLK1Freq());
    printf("HAL_RCC_GetHCLKFreq is %dHZ\r\n", HAL_RCC_GetHCLKFreq());
    printf("HAL_RCCEx_GetD1SysClockFreq is %dHZ\r\n", HAL_RCCEx_GetD1SysClockFreq());

    printf("SystemCoreClock is %dHZ\r\n", HAL_RCCEx_GetD1SysClockFreq());
    printf("waiting for eth config!\r\n");
    while(0 == ((uint8_t*)(&(gnetif.ip_addr.addr)))[0])
    {
        osDelay(100);
    }
    printf("ip4addr:%d.%d.%d.%d\r\n", ((uint8_t*)(&(gnetif.ip_addr.addr)))[0], ((uint8_t*)(&gnetif.ip_addr.addr))[1],
           ((uint8_t*)(&gnetif.ip_addr.addr))[2], ((uint8_t*)(&gnetif.ip_addr.addr))[3]);
    printf("hwaddr:%d.%d.%d.%d\r\n", ((uint8_t*)((gnetif.hwaddr)))[0], ((uint8_t*)((gnetif.hwaddr)))[1],
           ((uint8_t*)((gnetif.hwaddr)))[2], ((uint8_t*)((gnetif.hwaddr)))[3]);
    printf("geaddr:%d.%d.%d.%d\r\n", ((uint8_t*)(&(gnetif.gw.addr)))[0], ((uint8_t*)(&gnetif.gw.addr))[1],
           ((uint8_t*)(&gnetif.gw.addr))[2], ((uint8_t*)(&gnetif.gw.addr))[3]);

		tcpecho_init();
		udpecho_init();
							  udp_echoclient_connect( );

    while(1){
			osDelay(100);

		  udp_echoclient_send( );

//		    printf("\rip4addr:%d.%d.%d.%d", ((uint8_t*)(&(gnetif.ip_addr.addr)))[0], ((uint8_t*)(&gnetif.ip_addr.addr))[1],
//           ((uint8_t*)(&gnetif.ip_addr.addr))[2], ((uint8_t*)(&gnetif.ip_addr.addr))[3]);

		}

  /* USER CODE END StartTask02 */
}

/* USER CODE BEGIN Header_StartTask03 */
/**
* @brief Function implementing the myTask03 thread.
* @param argument: Not used
* @retval None
*/
extern void udpclient(int argc, char **argv);
char ip_port[4][20]={{1},{"192.168.1.108"},{"5000"},{"10"}};
/* USER CODE END Header_StartTask03 */
void StartTask03(void const * argument)
{
  /* USER CODE BEGIN StartTask03 */
    /* Infinite loop */
    for(;;)
    {
//			udpclient(3,(char**)ip_port );
        osDelay(1000);
    }
  /* USER CODE END StartTask03 */
}

/* Callback01 function */
void Callback01(void const * argument)
{
}

/* Callback02 function */
void Callback02(void const * argument)
{
}

/************************ (C) COPYRIGHT STMicroelectronics *****END OF FILE****/
